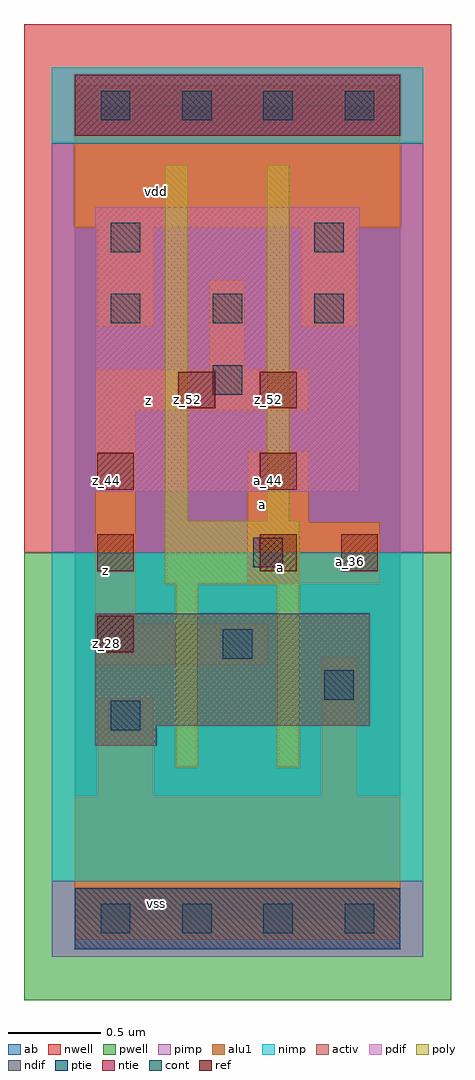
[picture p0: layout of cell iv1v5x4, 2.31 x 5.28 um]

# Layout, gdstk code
import gdstk
lib = gdstk.Library(unit=1e-6, precision=2.5e-09)
def R(c, l, rs):  # rectangles x0, y0, x1, y1
    for r in rs: c.add(gdstk.rectangle(r[:2], r[2:], *l))
def A(c, l, x, y, w, h, nx, ny, dx, dy):  # array of equal rectangles
    R(c, l, [(x+i*dx, y+j*dy, x+i*dx+w, y+j*dy+h) for i in range(nx) for j in range(ny)])
ndif = (3, 0)
pdif = (4, 0)
ntie = (5, 0)
ptie = (6, 0)
ref = (24, 0)
cont = (25, 0)
pwell = (41, 0)
nwell = (42, 0)
activ = (43, 0)
pimp = (44, 0)
nimp = (45, 0)
poly = (46, 0)
alu1 = (49, 0)
ab = (63, 0)

iv1v5x4 = lib.new_cell('iv1v5x4')
R(iv1v5x4, ndif, [(0.11,0.935,0.44,1.045), (0.11,1.045,1.595,1.65)])
R(iv1v5x4, pdif, [(0.11,2.31,1.54,3.85)])
R(iv1v5x4, ntie, [(0,4.235,1.76,4.565)])
R(iv1v5x4, ptie, [(0,-0.165,1.76,0.165)])
A(iv1v5x4, ref, 0.12, 1.44, 0.2, 0.2, 1, 3, 0, 0.44)
A(iv1v5x4, ref, 1, 1.88, 0.2, 0.2, 1, 3, 0, 0.44)
R(iv1v5x4, ref, [(1.44,1.88,1.64,2.08), (0.56,2.76,0.76,2.96)])
A(iv1v5x4, cont, 0.14, -0.08, 0.16, 0.16, 4, 2, 0.44, 4.4)
A(iv1v5x4, cont, 0.195, 3.22, 0.16, 0.16, 3, 1, 0.55, 0)
R(iv1v5x4, cont, [(0.195,1.02,0.355,1.18), (1.35,1.185,1.51,1.345), (0.8,1.405,0.96,1.565), (0.965,1.9,1.125,2.06), (0.745,2.835,0.905,2.995), (0.195,3.605,0.355,3.765), (1.295,3.605,1.455,3.765)])
R(iv1v5x4, pwell, [(-0.275,-0.44,2.035,1.98)])
R(iv1v5x4, nwell, [(-0.275,1.98,2.035,4.84)])
R(iv1v5x4, activ, [(0,-0.165,1.76,0.165), (0.11,0.935,0.44,1.045), (0.11,1.045,1.595,1.65), (0.11,2.31,1.54,3.85), (0,4.235,1.76,4.565)])
R(iv1v5x4, pimp, [(-0.125,-0.205,1.885,0.205), (-0.125,1.98,1.885,4.195)])
R(iv1v5x4, nimp, [(-0.125,0.205,1.885,1.98), (-0.125,4.195,1.885,4.605)])
R(iv1v5x4, poly, [(0.545,0.82,0.665,1.81), (1.095,0.82,1.215,1.81), (0.49,1.81,1.215,2.15), (0.49,2.15,0.61,4.075), (1.04,2.15,1.16,4.075)])
R(iv1v5x4, alu1, [(0,-0.11,1.76,0.66), (0.125,0.66,0.425,1.195), (1.335,0.66,1.525,1.415), (0.11,1.375,1.045,1.595), (0.11,1.595,0.33,2.75), (0.935,1.815,1.65,2.145), (0.935,2.145,1.265,2.53), (0.11,2.75,1.265,2.97), (0.73,2.97,0.92,3.45), (0.125,3.205,0.425,3.74), (1.225,3.205,1.525,3.74), (0,3.74,1.76,4.51)])
R(iv1v5x4, ab, [(0,0,1.76,4.4)])
iv1v5x4.add(gdstk.Label('vss', (0.44,0.0825), layer=49, texttype=0))
iv1v5x4.add(gdstk.Label('a', (1.1125,1.8975), layer=49, texttype=0))
iv1v5x4.add(gdstk.Label('a', (1.0175,2.24), layer=49, texttype=0))
iv1v5x4.add(gdstk.Label('z', (0.165,1.8825), layer=49, texttype=0))
iv1v5x4.add(gdstk.Label('z', (0.3975,2.805), layer=49, texttype=0))
iv1v5x4.add(gdstk.Label('vdd', (0.44,3.9325), layer=49, texttype=0))
iv1v5x4.add(gdstk.Label('z_52', (0.61,2.81), layer=24, texttype=0))
iv1v5x4.add(gdstk.Label('a_36', (1.05,1.93), layer=24, texttype=0))
iv1v5x4.add(gdstk.Label('a_44', (1.05,2.37), layer=24, texttype=0))
iv1v5x4.add(gdstk.Label('z_52', (1.05,2.81), layer=24, texttype=0))
iv1v5x4.add(gdstk.Label('a_36', (1.49,1.93), layer=24, texttype=0))
iv1v5x4.add(gdstk.Label('z_28', (0.17,1.49), layer=24, texttype=0))
iv1v5x4.add(gdstk.Label('z_36', (0.17,1.93), layer=24, texttype=0))
iv1v5x4.add(gdstk.Label('z_44', (0.17,2.37), layer=24, texttype=0))

lib.write_gds('iv1v5x4.gds')
